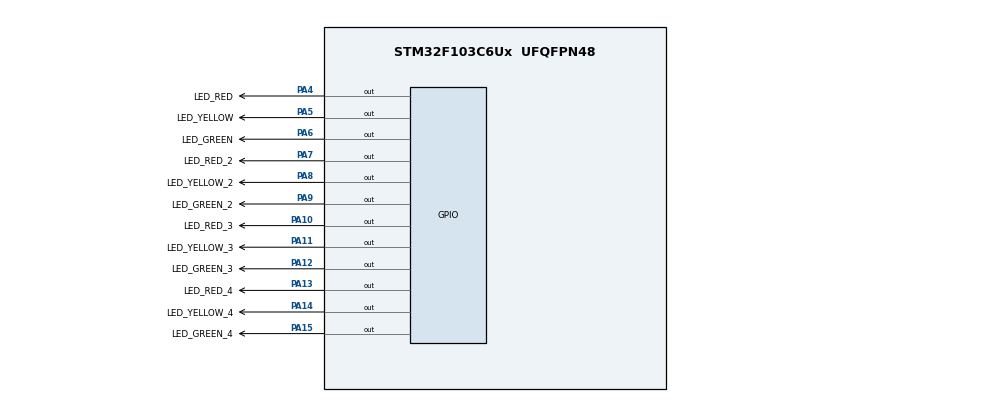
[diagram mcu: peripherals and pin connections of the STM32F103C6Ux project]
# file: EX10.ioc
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Mcu.Family=STM32F1
Mcu.Name=STM32F103C6Ux
Mcu.Package=UFQFPN48
NVIC.PriorityGroup=NVIC_PRIORITYGROUP_4
PA10.GPIO_Label=LED_RED_3
PA10.Signal=GPIO_Output
PA11.GPIO_Label=LED_YELLOW_3
PA11.Signal=GPIO_Output
PA12.GPIO_Label=LED_GREEN_3
PA12.Signal=GPIO_Output
PA13.GPIO_Label=LED_RED_4
PA13.Signal=GPIO_Output
PA14.GPIO_Label=LED_YELLOW_4
PA14.Signal=GPIO_Output
PA15.GPIO_Label=LED_GREEN_4
PA15.Signal=GPIO_Output
PA4.GPIO_Label=LED_RED
PA4.Signal=GPIO_Output
PA5.GPIO_Label=LED_YELLOW
PA5.Signal=GPIO_Output
PA6.GPIO_Label=LED_GREEN
PA6.Signal=GPIO_Output
PA7.GPIO_Label=LED_RED_2
PA7.Signal=GPIO_Output
PA8.GPIO_Label=LED_YELLOW_2
PA8.Signal=GPIO_Output
PA9.GPIO_Label=LED_GREEN_2
PA9.Signal=GPIO_Output
ProjectManager.HeapSize=0x200
ProjectManager.StackSize=0x400
ProjectManager.TargetToolchain=STM32CubeIDE
RCC.APB1Freq_Value=8000000
RCC.APB2Freq_Value=8000000
VP_SYS_VS_ND.Mode=No_Debug
board=custom

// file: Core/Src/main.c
/* USER CODE BEGIN Header */
/**
  ******************************************************************************
  * @file           : main.c
  * @brief          : Main program body
  ******************************************************************************
  * @attention
  *
  * <h2><center>&copy; Copyright (c) 2024 STMicroelectronics.
  * All rights reserved.</center></h2>
  *
  * This software component is licensed by ST under BSD 3-Clause license,
  * the "License"; You may not use this file except in compliance with the
  * License. You may obtain a copy of the License at:
  *                        opensource.org/licenses/BSD-3-Clause
  *
  ******************************************************************************
  */
/* USER CODE END Header */
#include "main.h"

void SystemClock_Config(void);
static void MX_GPIO_Init(void);
/* USER CODE BEGIN PFP */
	void clearAllClock();
	void setAllClock();
	void setNumberOnClock(int num);
	void clearNumberOnClock(int num);
/* USER CODE END PFP */

int main(void)
{

  /* MCU Configuration--------------------------------------------------------*/

  /* Reset of all peripherals, Initializes the Flash interface and the Systick. */
  HAL_Init();

  /* Configure the system clock */
  SystemClock_Config();

  /* Initialize all configured peripherals */
  MX_GPIO_Init();
  /* USER CODE BEGIN 2 */
   int second = 0;
   int minute = 0;
   int hour = 0;
  /* USER CODE END 2 */

  /* Infinite loop */
  /* USER CODE BEGIN WHILE */
  while (1)
  {
	  if(second > 59)
	 	  {
	 		  second = 0;
	 		  minute++;
	 	  }

	 	  if(minute > 59)
	 	  {
	 		  minute = 0;
	 		  hour++;
	 	  }

	 	  if(hour > 11)
	 	  {
	 		  hour = 0;
	 	  }

	 	  clearAllClock();
	 	  setNumberOnClock(second/5);

	 	  setNumberOnClock(minute/5);

	 	  setNumberOnClock(hour);
	 	  	 second++;
	 	  HAL_Delay(10);
    /* USER CODE END WHILE */

  }
}

void SystemClock_Config(void)
{
  RCC_OscInitTypeDef RCC_OscInitStruct = {0};
  RCC_ClkInitTypeDef RCC_ClkInitStruct = {0};

  /** Initializes the RCC Oscillators according to the specified parameters
  * in the RCC_OscInitTypeDef structure.
  */
  RCC_OscInitStruct.OscillatorType = RCC_OSCILLATORTYPE_HSI;
  RCC_OscInitStruct.HSIState = RCC_HSI_ON;
  RCC_OscInitStruct.HSICalibrationValue = RCC_HSICALIBRATION_DEFAULT;
  RCC_OscInitStruct.PLL.PLLState = RCC_PLL_NONE;
  if (HAL_RCC_OscConfig(&RCC_OscInitStruct) != HAL_OK)
  {
    Error_Handler();
  }
  /** Initializes the CPU, AHB and APB buses clocks
  */
  RCC_ClkInitStruct.ClockType = RCC_CLOCKTYPE_HCLK|RCC_CLOCKTYPE_SYSCLK
                              |RCC_CLOCKTYPE_PCLK1|RCC_CLOCKTYPE_PCLK2;
  RCC_ClkInitStruct.SYSCLKSource = RCC_SYSCLKSOURCE_HSI;
  RCC_ClkInitStruct.AHBCLKDivider = RCC_SYSCLK_DIV1;
  RCC_ClkInitStruct.APB1CLKDivider = RCC_HCLK_DIV1;
  RCC_ClkInitStruct.APB2CLKDivider = RCC_HCLK_DIV1;

  if (HAL_RCC_ClockConfig(&RCC_ClkInitStruct, FLASH_LATENCY_0) != HAL_OK)
  {
    Error_Handler();
  }
}

static void MX_GPIO_Init(void)
{
  GPIO_InitTypeDef GPIO_InitStruct = {0};

  /* GPIO Ports Clock Enable */
  __HAL_RCC_GPIOA_CLK_ENABLE();

  /*Configure GPIO pin Output Level */
  HAL_GPIO_WritePin(GPIOA, LED_RED_Pin|LED_YELLOW_Pin|LED_GREEN_Pin|LED_RED_2_Pin
                          |LED_YELLOW_2_Pin|LED_GREEN_2_Pin|LED_RED_3_Pin|LED_YELLOW_3_Pin
                          |LED_GREEN_3_Pin|LED_RED_4_Pin|LED_YELLOW_4_Pin|LED_GREEN_4_Pin, GPIO_PIN_RESET);

  /*Configure GPIO pins : LED_RED_Pin LED_YELLOW_Pin LED_GREEN_Pin LED_RED_2_Pin
                           LED_YELLOW_2_Pin LED_GREEN_2_Pin LED_RED_3_Pin LED_YELLOW_3_Pin
                           LED_GREEN_3_Pin LED_RED_4_Pin LED_YELLOW_4_Pin LED_GREEN_4_Pin */
  GPIO_InitStruct.Pin = LED_RED_Pin|LED_YELLOW_Pin|LED_GREEN_Pin|LED_RED_2_Pin
                          |LED_YELLOW_2_Pin|LED_GREEN_2_Pin|LED_RED_3_Pin|LED_YELLOW_3_Pin
                          |LED_GREEN_3_Pin|LED_RED_4_Pin|LED_YELLOW_4_Pin|LED_GREEN_4_Pin;
  GPIO_InitStruct.Mode = GPIO_MODE_OUTPUT_PP;
  GPIO_InitStruct.Pull = GPIO_NOPULL;
  GPIO_InitStruct.Speed = GPIO_SPEED_FREQ_LOW;
  HAL_GPIO_Init(GPIOA, &GPIO_InitStruct);

}

/* USER CODE BEGIN 4 */
void clearAllClock()
{
	HAL_GPIO_WritePin(LED_RED_GPIO_Port, LED_RED_Pin, GPIO_PIN_SET);
	HAL_GPIO_WritePin(LED_YELLOW_GPIO_Port, LED_YELLOW_Pin, GPIO_PIN_SET);
	HAL_GPIO_WritePin(LED_GREEN_GPIO_Port, LED_GREEN_Pin, GPIO_PIN_SET);

	HAL_GPIO_WritePin(LED_RED_2_GPIO_Port, LED_RED_2_Pin, GPIO_PIN_SET);
	HAL_GPIO_WritePin(LED_YELLOW_2_GPIO_Port, LED_YELLOW_2_Pin, GPIO_PIN_SET);
	HAL_GPIO_WritePin(LED_GREEN_2_GPIO_Port, LED_GREEN_2_Pin, GPIO_PIN_SET);

	HAL_GPIO_WritePin(LED_RED_3_GPIO_Port, LED_RED_3_Pin, GPIO_PIN_SET);
	HAL_GPIO_WritePin(LED_YELLOW_3_GPIO_Port, LED_YELLOW_3_Pin, GPIO_PIN_SET);
	HAL_GPIO_WritePin(LED_GREEN_3_GPIO_Port, LED_GREEN_3_Pin, GPIO_PIN_SET);

	HAL_GPIO_WritePin(LED_RED_4_GPIO_Port, LED_RED_4_Pin, GPIO_PIN_SET);
	HAL_GPIO_WritePin(LED_YELLOW_4_GPIO_Port, LED_YELLOW_4_Pin, GPIO_PIN_SET);
	HAL_GPIO_WritePin(LED_GREEN_4_GPIO_Port, LED_GREEN_4_Pin, GPIO_PIN_SET);
}

void setAllClock()
{
		HAL_GPIO_WritePin(LED_RED_GPIO_Port, LED_RED_Pin, GPIO_PIN_RESET);
		HAL_GPIO_WritePin(LED_YELLOW_GPIO_Port, LED_YELLOW_Pin, GPIO_PIN_RESET);
		HAL_GPIO_WritePin(LED_GREEN_GPIO_Port, LED_GREEN_Pin, GPIO_PIN_RESET);

		HAL_GPIO_WritePin(LED_RED_2_GPIO_Port, LED_RED_2_Pin, GPIO_PIN_RESET);
		HAL_GPIO_WritePin(LED_YELLOW_2_GPIO_Port, LED_YELLOW_2_Pin, GPIO_PIN_RESET);
		HAL_GPIO_WritePin(LED_GREEN_2_GPIO_Port, LED_GREEN_2_Pin, GPIO_PIN_RESET);

		HAL_GPIO_WritePin(LED_RED_3_GPIO_Port, LED_RED_3_Pin, GPIO_PIN_RESET);
		HAL_GPIO_WritePin(LED_YELLOW_3_GPIO_Port, LED_YELLOW_3_Pin, GPIO_PIN_RESET);
		HAL_GPIO_WritePin(LED_GREEN_3_GPIO_Port, LED_GREEN_3_Pin, GPIO_PIN_RESET);

		HAL_GPIO_WritePin(LED_RED_4_GPIO_Port, LED_RED_4_Pin, GPIO_PIN_RESET);
		HAL_GPIO_WritePin(LED_YELLOW_4_GPIO_Port, LED_YELLOW_4_Pin, GPIO_PIN_RESET);
		HAL_GPIO_WritePin(LED_GREEN_4_GPIO_Port, LED_GREEN_4_Pin, GPIO_PIN_RESET);
}

void setNumberOnClock(int num)
	{
		switch(num)
		{
			case 1:
				HAL_GPIO_WritePin(LED_GREEN_4_GPIO_Port, LED_GREEN_4_Pin, GPIO_PIN_RESET);
				break;
			case 2:
				HAL_GPIO_WritePin(LED_YELLOW_4_GPIO_Port, LED_YELLOW_4_Pin, GPIO_PIN_RESET);
				break;
			case 3:
				HAL_GPIO_WritePin(LED_RED_4_GPIO_Port, LED_RED_4_Pin, GPIO_PIN_RESET);
				break;
			case 4:
				HAL_GPIO_WritePin(LED_GREEN_3_GPIO_Port, LED_GREEN_3_Pin, GPIO_PIN_RESET);
				break;
			case 5:
				HAL_GPIO_WritePin(LED_YELLOW_3_GPIO_Port, LED_YELLOW_3_Pin, GPIO_PIN_RESET);
				break;
			case 6:
				HAL_GPIO_WritePin(LED_RED_3_GPIO_Port, LED_RED_3_Pin, GPIO_PIN_RESET);
				break;
			case 7:
				HAL_GPIO_WritePin(LED_GREEN_GPIO_Port, LED_GREEN_Pin, GPIO_PIN_RESET);
				break;
			case 8:
				HAL_GPIO_WritePin(LED_YELLOW_GPIO_Port, LED_YELLOW_Pin, GPIO_PIN_RESET);
				break;
			case 9:
				HAL_GPIO_WritePin(LED_RED_GPIO_Port, LED_RED_Pin, GPIO_PIN_RESET);
				break;
			case 10:
				HAL_GPIO_WritePin(LED_GREEN_2_GPIO_Port, LED_GREEN_2_Pin, GPIO_PIN_RESET);
				break;
			case 11:
				HAL_GPIO_WritePin(LED_YELLOW_2_GPIO_Port, LED_YELLOW_2_Pin, GPIO_PIN_RESET);
				break;
			default:
				HAL_GPIO_WritePin(LED_RED_2_GPIO_Port, LED_RED_2_Pin, GPIO_PIN_RESET);
				break;
		}
}

void clearNumberOnClock(int num)
	{
		switch(num)
		{
			case 1:
				HAL_GPIO_WritePin(LED_GREEN_4_GPIO_Port, LED_GREEN_4_Pin, GPIO_PIN_SET);
				break;
			case 2:
				HAL_GPIO_WritePin(LED_YELLOW_4_GPIO_Port, LED_YELLOW_4_Pin, GPIO_PIN_SET);
				break;
			case 3:
				HAL_GPIO_WritePin(LED_RED_4_GPIO_Port, LED_RED_4_Pin, GPIO_PIN_SET);
				break;
			case 4:
				HAL_GPIO_WritePin(LED_GREEN_3_GPIO_Port, LED_GREEN_3_Pin, GPIO_PIN_SET);
				break;
			case 5:
				HAL_GPIO_WritePin(LED_YELLOW_3_GPIO_Port, LED_YELLOW_3_Pin, GPIO_PIN_SET);
				break;
			case 6:
				HAL_GPIO_WritePin(LED_RED_3_GPIO_Port, LED_RED_3_Pin, GPIO_PIN_SET);
				break;
			case 7:
				HAL_GPIO_WritePin(LED_GREEN_GPIO_Port, LED_GREEN_Pin, GPIO_PIN_SET);
				break;
			case 8:
				HAL_GPIO_WritePin(LED_YELLOW_GPIO_Port, LED_YELLOW_Pin, GPIO_PIN_SET);
				break;
			case 9:
				HAL_GPIO_WritePin(LED_RED_GPIO_Port, LED_RED_Pin, GPIO_PIN_SET);
				break;
			case 10:
				HAL_GPIO_WritePin(LED_GREEN_2_GPIO_Port, LED_GREEN_2_Pin, GPIO_PIN_SET);
				break;
			case 11:
				HAL_GPIO_WritePin(LED_YELLOW_2_GPIO_Port, LED_YELLOW_2_Pin, GPIO_PIN_SET);
				break;
			default:
				HAL_GPIO_WritePin(LED_RED_2_GPIO_Port, LED_RED_2_Pin, GPIO_PIN_SET);
				break;
		}
}
/* USER CODE END 4 */

void Error_Handler(void)
{
  __disable_irq();
  while (1)
  {
  }
}

/************************ (C) COPYRIGHT STMicroelectronics *****END OF FILE****/
